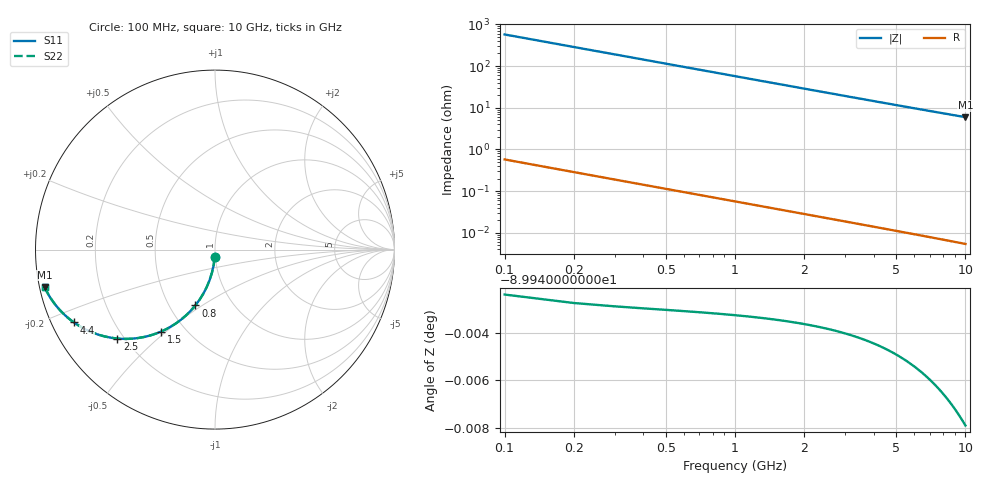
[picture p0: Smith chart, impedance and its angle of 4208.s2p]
# Hz S RI R 50.00
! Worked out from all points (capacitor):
!   100 points, 100 MHz to 10 GHz, reference 50 ohm
!   read as one part in shunt: C = 2.79 pF near 100 MHz
!   lowest |Z| = 5.95 ohm at 10 GHz (marker M1)
!   S11 on the Smith chart (normalised r, x): 100 MHz: 0.99, -0.09; 800 MHz: 0.67, -0.47; 1.5 GHz: 0.37, -0.48; 2.5 GHz: 0.17, -0.38; 4.4 GHz: 0.06, -0.24; 10 GHz: 0.01, -0.11
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1e8  -0.00194 -0.0436  0.998 -0.0438  0.998 -0.0438  -0.00194 -0.0436
2e8  -0.00767 -0.0867  0.9923 -0.087  0.9923 -0.087  -0.00767 -0.0867
3e8  -0.0171 -0.1288  0.9829 -0.1293  0.9829 -0.1293  -0.0171 -0.1288
4e8  -0.0299 -0.1695  0.9701 -0.1702  0.9701 -0.1702  -0.0299 -0.1695
5e8  -0.0459 -0.2083  0.9541 -0.2092  0.9541 -0.2092  -0.0459 -0.2083
6e8  -0.0647 -0.245  0.9353 -0.246  0.9353 -0.246  -0.0647 -0.245
8e8  -0.1094 -0.3109  0.8906 -0.3123  0.8906 -0.3123  -0.1094 -0.3109
9e8  -0.1344 -0.3399  0.8655 -0.3414  0.8655 -0.3414  -0.1344 -0.3399
1.1e9  -0.1882 -0.3894  0.8118 -0.3913  0.8118 -0.3913  -0.1882 -0.3894
1.3e9  -0.2444 -0.4281  0.7556 -0.4303  0.7556 -0.4303  -0.2444 -0.4281
1.5e9  -0.3008 -0.4568  0.6991 -0.4594  0.6991 -0.4594  -0.3008 -0.4568
1.8e9  -0.3823 -0.4839  0.6177 -0.487  0.6177 -0.487  -0.3823 -0.4839
2.1e9  -0.4569 -0.4958  0.543 -0.4994  0.543 -0.4994  -0.4569 -0.4958
2.5e9  -0.5435 -0.4954  0.4564 -0.4997  0.4564 -0.4997  -0.5435 -0.4954
2.9e9  -0.6154 -0.4835  0.3846 -0.4885  0.3846 -0.4885  -0.6154 -0.4835
3.4e9  -0.6871 -0.4602  0.3128 -0.4661  0.3128 -0.4661  -0.6871 -0.4602
3.9e9  -0.7426 -0.4333  0.2573 -0.44  0.2573 -0.44  -0.7426 -0.4333
4.4e9  -0.7858 -0.4059  0.2141 -0.4135  0.2141 -0.4135  -0.7858 -0.4059
5.1e9  -0.8312 -0.3696  0.1687 -0.3785  0.1687 -0.3785  -0.8312 -0.3696
6.7e9  -0.8946 -0.3006  0.1053 -0.3124  0.1053 -0.3124  -0.8946 -0.3006
8.4e9  -0.9303 -0.2465  0.0695 -0.2615  0.0695 -0.2615  -0.9303 -0.2465
1e10  -0.9499 -0.2084  0.0499 -0.2264  0.0499 -0.2264  -0.9499 -0.2084
